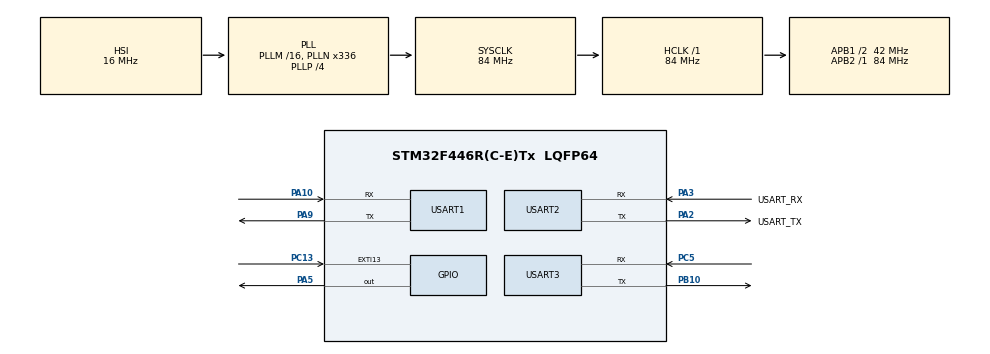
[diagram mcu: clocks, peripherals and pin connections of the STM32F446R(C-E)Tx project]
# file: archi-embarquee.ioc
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Mcu.Family=STM32F4
Mcu.Name=STM32F446R(C-E)Tx
Mcu.Package=LQFP64
NUCLEO-F446RE.BUTTON=1
NUCLEO-F446RE.LD1=true
NVIC.EXTI15_10_IRQn=true\:0\:0\:false\:false\:true\:false\:true\:true
NVIC.PriorityGroup=NVIC_PRIORITYGROUP_0
NVIC.USART1_IRQn=true\:0\:0\:false\:false\:true\:true\:true\:true
NVIC.USART2_IRQn=true\:0\:0\:false\:false\:true\:true\:true\:true
NVIC.USART3_IRQn=true\:0\:0\:false\:false\:true\:true\:true\:true
PA10.Mode=Asynchronous
PA10.Signal=USART1_RX
PA13.GPIO_Label=TMS
PA13.Signal=SYS_JTMS-SWDIO
PA14.GPIO_Label=TCK
PA14.Signal=SYS_JTCK-SWCLK
PA2.GPIO_Label=USART_TX
PA2.Mode=Asynchronous
PA2.Signal=USART2_TX
PA3.GPIO_Label=USART_RX
PA3.Mode=Asynchronous
PA3.Signal=USART2_RX
PA5.Signal=GPIO_Output
PA9.Mode=Asynchronous
PA9.Signal=USART1_TX
PB10.Mode=Asynchronous
PB10.Signal=USART3_TX
PB3.GPIO_Label=SWO
PB3.Signal=SYS_JTDO-SWO
PC13.Signal=GPXTI13
PC14-OSC32_IN.Signal=RCC_OSC32_IN
PC15-OSC32_OUT.Signal=RCC_OSC32_OUT
PC5.Mode=Asynchronous
PC5.Signal=USART3_RX
PH0-OSC_IN.Signal=RCC_OSC_IN
PH1-OSC_OUT.Signal=RCC_OSC_OUT
ProjectManager.HeapSize=0x200
ProjectManager.StackSize=0x400
ProjectManager.TargetToolchain=CMake
RCC.AHBFreq_Value=84000000
RCC.APB1CLKDivider=RCC_HCLK_DIV2
RCC.APB1Freq_Value=42000000
RCC.APB1TimFreq_Value=84000000
RCC.APB2Freq_Value=84000000
RCC.APB2TimFreq_Value=84000000
RCC.CortexFreq_Value=84000000
RCC.FLatency-AdvancedSettings=FLASH_LATENCY_2
RCC.HCLKFreq_Value=84000000
RCC.HSE_VALUE=8000000
RCC.HSI_VALUE=16000000
RCC.LSE_VALUE=32768
RCC.PLLN=336
RCC.PLLP=RCC_PLLP_DIV4
RCC.SYSCLKFreq_VALUE=84000000
RCC.SYSCLKSource=RCC_SYSCLKSOURCE_PLLCLK
RCC.USBFreq_Value=168000000
RCC.VCOOutputFreq_Value=336000000
USART1.VirtualMode=VM_ASYNC
USART2.VirtualMode=VM_ASYNC
USART3.VirtualMode=VM_ASYNC
VP_NUCLEO-F446RE_VS_BSP_COMMON.Mode=COMMON
board=NUCLEO-F446RE

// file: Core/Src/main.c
/* USER CODE BEGIN Header */
/**
 ******************************************************************************
 * @file           : main.c
 * @brief          : Main program body
 ******************************************************************************
 * @attention
 *
 * Copyright (c) 2026 STMicroelectronics.
 * All rights reserved.
 *
 * This software is licensed under terms that can be found in the LICENSE file
 * in the root directory of this software component.
 * If no LICENSE file comes with this software, it is provided AS-IS.
 *
 ******************************************************************************
 */
/* USER CODE END Header */
#include "main.h"

/* USER CODE BEGIN Includes */
#include <assert.h>
#include <string.h>

#include "io.h"
#include "print.h"
#include "protocol.h"
#include "protocol_icd.h"
#include "state.h"
/* USER CODE END Includes */

UART_HandleTypeDef huart1;
UART_HandleTypeDef huart2;
UART_HandleTypeDef huart3;

/* USER CODE BEGIN PV */

// If you don't set alignment here, because the message is 24 bytes long,
// and its packed, it can get a bit messed up. Prolly a DMA issue idk lol
// but setting alignment values to 16 across every variable solved an issue
// where messages were 8 bits off on the receiving end *per node*
__attribute__((aligned(sizeof(uint16_t))))
    uint8_t buff_usart1[MESSAGE_BYTE_LENGTH] = {0};
__attribute__((aligned(sizeof(uint16_t))))
    uint8_t buff_usart2_input[1] = {0};
__attribute__((aligned(sizeof(uint16_t))))
    uint8_t buff_usart2_output[MAX_PAYLOAD_BYTE_SIZE] = {0};
__attribute__((aligned(sizeof(uint16_t))))
    uint8_t buff_usart3[MESSAGE_BYTE_LENGTH] = {0};
/* USER CODE END PV */

void SystemClock_Config(void);
static void MX_GPIO_Init(void);
static void MX_USART1_UART_Init(void);
static void MX_USART2_UART_Init(void);
static void MX_USART3_UART_Init(void);

int main(void)
{

    /* MCU Configuration--------------------------------------------------------*/

    /* Reset of all peripherals, Initializes the Flash interface and the Systick. */
    HAL_Init();

    /* Configure the system clock */
    SystemClock_Config();

    /* Initialize all configured peripherals */
    MX_GPIO_Init();
    MX_USART1_UART_Init();
    MX_USART2_UART_Init();
    MX_USART3_UART_Init();
    /* USER CODE BEGIN 2 */

    HAL_UART_Receive_IT(&huart1, buff_usart1, MESSAGE_BYTE_LENGTH);
    HAL_UART_Receive_IT(&huart2, buff_usart2_input, 1);
    HAL_UART_Receive_IT(&huart3, buff_usart3, MESSAGE_BYTE_LENGTH);

    print("[Protocol] ICD Protocol terminal enabled. Hello, world!\r\n");
    print("[Protocol] Send a packet here to start handshake from this node.\r\n");
    print("[Protocol] Press USER button to reset the network!\r\n");
    print("[Protocol] (And don't forget to reset the board after flashing it...)\r\n");
    print("[Protocol] Messages are 16 characters or shorter. Press return to send!\r\n");
    print("[Input] PRESS ANY KEY TO SET THIS AS YOUR STARTER NODE!\r\n");

    /* USER CODE END 2 */

    /* Initialize leds */
    BSP_LED_Init(LED2);

    /* Initialize USER push-button, will be used to trigger an interrupt each time it's pressed.*/
    BSP_PB_Init(BUTTON_USER, BUTTON_MODE_EXTI);

    /* Infinite loop */
    while (1)
    {
        /* USER CODE BEGIN 3 */

        uint32_t now = HAL_GetTick();
        if ((int32_t)(now - State.led_next_action) >= 0)
        {
            if (State.is_error)
            {
                BSP_LED_Toggle(LED2);
                State.led_next_action_offset = 500U;
            }
            else if (!State.is_init)
            {
                BSP_LED_Toggle(LED2);
                State.led_next_action_offset = 2000U;
            }
            else
            {
                BSP_LED_On(LED2);
                State.led_next_action_offset = 50U;
            }

            State.led_next_action = now + State.led_next_action_offset;
        }

        if (!State.is_error)
        {
            handle_usb_input();

            handle_upstream_input();
            handle_downstream_output();

            handle_upstream_output();
            handle_downstream_input();
        }
    }
    /* USER CODE END 3 */
}

void SystemClock_Config(void)
{
    RCC_OscInitTypeDef RCC_OscInitStruct = {0};
    RCC_ClkInitTypeDef RCC_ClkInitStruct = {0};

    /** Configure the main internal regulator output voltage
    */
    __HAL_RCC_PWR_CLK_ENABLE();
    __HAL_PWR_VOLTAGESCALING_CONFIG(PWR_REGULATOR_VOLTAGE_SCALE3);

    /** Initializes the RCC Oscillators according to the specified parameters
     * in the RCC_OscInitTypeDef structure.
     */
    RCC_OscInitStruct.OscillatorType = RCC_OSCILLATORTYPE_HSI;
    RCC_OscInitStruct.HSIState = RCC_HSI_ON;
    RCC_OscInitStruct.HSICalibrationValue = RCC_HSICALIBRATION_DEFAULT;
    RCC_OscInitStruct.PLL.PLLState = RCC_PLL_ON;
    RCC_OscInitStruct.PLL.PLLSource = RCC_PLLSOURCE_HSI;
    RCC_OscInitStruct.PLL.PLLM = 16;
    RCC_OscInitStruct.PLL.PLLN = 336;
    RCC_OscInitStruct.PLL.PLLP = RCC_PLLP_DIV4;
    RCC_OscInitStruct.PLL.PLLQ = 2;
    RCC_OscInitStruct.PLL.PLLR = 2;
    if (HAL_RCC_OscConfig(&RCC_OscInitStruct) != HAL_OK)
    {
        Error_Handler();
    }

    /** Initializes the CPU, AHB and APB buses clocks
    */
    RCC_ClkInitStruct.ClockType = RCC_CLOCKTYPE_HCLK|RCC_CLOCKTYPE_SYSCLK
        |RCC_CLOCKTYPE_PCLK1|RCC_CLOCKTYPE_PCLK2;
    RCC_ClkInitStruct.SYSCLKSource = RCC_SYSCLKSOURCE_PLLCLK;
    RCC_ClkInitStruct.AHBCLKDivider = RCC_SYSCLK_DIV1;
    RCC_ClkInitStruct.APB1CLKDivider = RCC_HCLK_DIV2;
    RCC_ClkInitStruct.APB2CLKDivider = RCC_HCLK_DIV1;

    if (HAL_RCC_ClockConfig(&RCC_ClkInitStruct, FLASH_LATENCY_2) != HAL_OK)
    {
        Error_Handler();
    }
}

static void MX_USART1_UART_Init(void)
{

    huart1.Instance = USART1;
    huart1.Init.BaudRate = 115200;
    huart1.Init.WordLength = UART_WORDLENGTH_8B;
    huart1.Init.StopBits = UART_STOPBITS_1;
    huart1.Init.Parity = UART_PARITY_NONE;
    huart1.Init.Mode = UART_MODE_TX_RX;
    huart1.Init.HwFlowCtl = UART_HWCONTROL_NONE;
    huart1.Init.OverSampling = UART_OVERSAMPLING_16;
    if (HAL_UART_Init(&huart1) != HAL_OK)
    {
        Error_Handler();
    }

}

static void MX_USART2_UART_Init(void)
{

    huart2.Instance = USART2;
    huart2.Init.BaudRate = 115200;
    huart2.Init.WordLength = UART_WORDLENGTH_8B;
    huart2.Init.StopBits = UART_STOPBITS_1;
    huart2.Init.Parity = UART_PARITY_NONE;
    huart2.Init.Mode = UART_MODE_TX_RX;
    huart2.Init.HwFlowCtl = UART_HWCONTROL_NONE;
    huart2.Init.OverSampling = UART_OVERSAMPLING_16;
    if (HAL_UART_Init(&huart2) != HAL_OK)
    {
        Error_Handler();
    }

}

static void MX_USART3_UART_Init(void)
{

    huart3.Instance = USART3;
    huart3.Init.BaudRate = 115200;
    huart3.Init.WordLength = UART_WORDLENGTH_8B;
    huart3.Init.StopBits = UART_STOPBITS_1;
    huart3.Init.Parity = UART_PARITY_NONE;
    huart3.Init.Mode = UART_MODE_TX_RX;
    huart3.Init.HwFlowCtl = UART_HWCONTROL_NONE;
    huart3.Init.OverSampling = UART_OVERSAMPLING_16;
    if (HAL_UART_Init(&huart3) != HAL_OK)
    {
        Error_Handler();
    }

}

static void MX_GPIO_Init(void)
{

    /* GPIO Ports Clock Enable */
    __HAL_RCC_GPIOC_CLK_ENABLE();
    __HAL_RCC_GPIOH_CLK_ENABLE();
    __HAL_RCC_GPIOA_CLK_ENABLE();
    __HAL_RCC_GPIOB_CLK_ENABLE();

}

/* USER CODE BEGIN 4 */
void HAL_UART_RxCpltCallback(UART_HandleTypeDef* huart)
{
    if (huart->Instance == USART2)
    {
        *State.rawdata_to_process = *buff_usart2_input;
        State.rawdata_needs_processing = 1U;
    }

    if (huart->Instance == USART1)
    {
        memcpy((uint8_t*) &State.message_to_process_usart1, buff_usart1, MESSAGE_BYTE_LENGTH);
        State.message_needs_processing_usart1 = 1U;
    }

    if (huart->Instance == USART3)
    {
        memcpy((uint8_t*) &State.message_to_process_usart3, buff_usart3, MESSAGE_BYTE_LENGTH);
        State.message_needs_processing_usart3 = 1U;
    }
}

void HAL_GPIO_EXTI_Callback(uint16_t pin)
{
    if (pin == USER_BUTTON_PIN)
        send_reset();
}

/* USER CODE END 4 */

void Error_Handler(void)
{
    __disable_irq();
    while (1)
    {
    }
}
